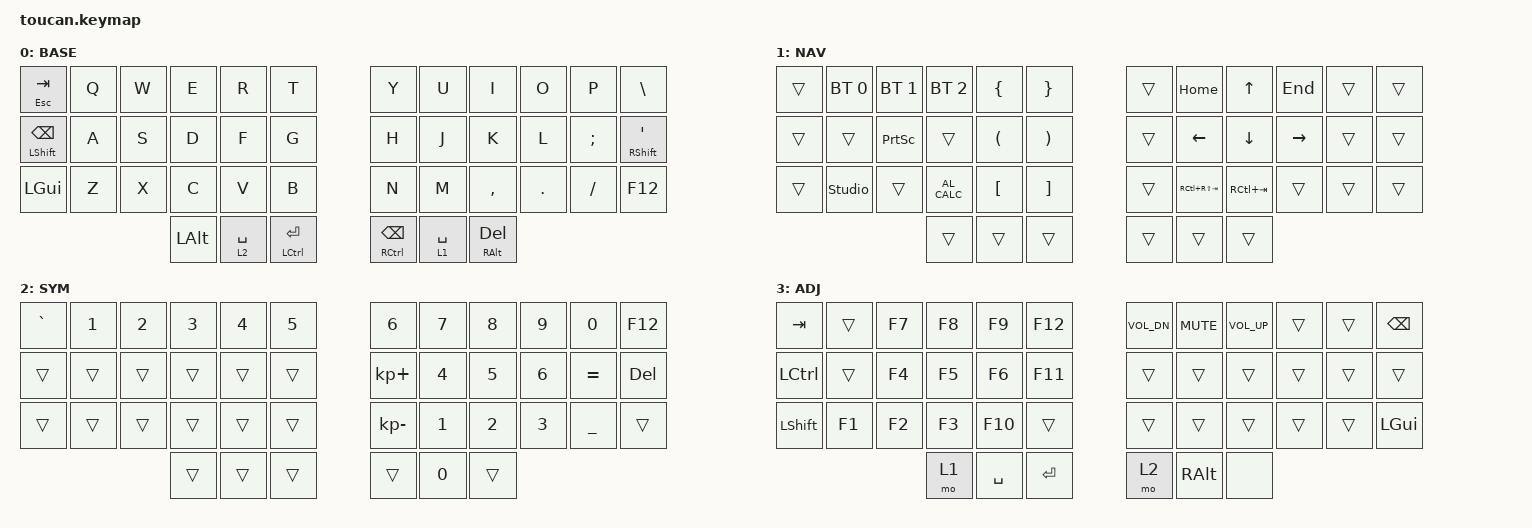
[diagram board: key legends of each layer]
#include <behaviors.dtsi>
#include <dt-bindings/zmk/keys.h>
#include <dt-bindings/zmk/bt.h>
#include <dt-bindings/zmk/outputs.h>

#define BASE 0
#define NAV  1
#define SYM  2
#define ADJ  3

&mt {
    flavor = "tap-preferred";
    tapping-term-ms = <200>;
    quick-tap-ms = <200>;
};

&lt {
    quick-tap-ms = <200>;
};

/ {
    conditional_layers {
        compatible = "zmk,conditional-layers";
        tri_layer {
            if-layers = <1 2>;
            then-layer = <3>;
        };
    };

    keymap {
        compatible = "zmk,keymap";

        base {
            display-name = "BASE";
            bindings = <
                &mt ESC TAB    &kp Q &kp W &kp E &kp R &kp T        &kp Y &kp U  &kp I     &kp O   &kp P    &kp BSLH
                &mt LSHFT BSPC &kp A &kp S &kp D &kp F &kp G        &kp H &kp J  &kp K     &kp L   &kp SEMI &mt RSHFT SQT
                &kp LGUI       &kp Z &kp X &kp C &kp V &kp B        &kp N &kp M  &kp COMMA &kp DOT &kp FSLH &kp F12
                              &kp LALT &lt 2 SPACE &mt LCTRL RET     &mt RCTRL BSPC &lt 1 SPACE &mt RALT DEL
            >;
        };

        nav {
            display-name = "NAV";
            bindings = <
                &trans &bt BT_SEL 0    &bt BT_SEL 1 &bt BT_SEL 2 &kp LBRC  &kp RBRC    &trans &kp HOME       &kp UP       &kp END   &trans &trans
                &trans &trans          &kp PSCRN    &trans       &kp LPAR  &kp RPAR    &trans &kp LEFT       &kp DOWN     &kp RIGHT &trans &trans
                &trans &studio_unlock  &trans       &kp C_AL_CALC &kp LBKT &kp RBKT    &trans &kp RC(RS(TAB)) &kp RC(TAB) &trans    &trans &trans
                                                        &trans    &trans    &trans      &trans &trans          &trans
            >;
        };

        sym {
            display-name = "SYM";
            bindings = <
                &kp GRAVE &kp N1 &kp N2 &kp N3 &kp N4 &kp N5      &kp N6       &kp N7 &kp N8 &kp N9 &kp N0    &kp F12
                &trans    &trans &trans &trans &trans &trans         &kp KP_PLUS  &kp N4 &kp N5 &kp N6 &kp EQUAL &kp DEL
                &trans    &trans &trans &trans &trans &trans         &kp KP_MINUS &kp N1 &kp N2 &kp N3 &kp UNDER &trans
                                        &trans &trans &trans        &trans       &kp N0 &trans
            >;
        };

        adj {
            display-name = "ADJ";
            bindings = <
                &kp TAB   &trans  &kp F7 &kp F8 &kp F9  &kp F12   &kp C_VOL_DN &kp C_MUTE &kp C_VOL_UP &trans &trans &kp BSPC
                &kp LCTRL &trans  &kp F4 &kp F5 &kp F6  &kp F11   &trans       &trans     &trans       &trans &trans &trans
                &kp LSHFT &kp F1 &kp F2 &kp F3 &kp F10 &trans     &trans       &trans     &trans       &trans &trans &kp LGUI
                                    &mo 1 &kp SPACE &kp RET        &mo 2        &kp RALT   &none
            >;
        };
        extra_1 {
                status = "reserved";
        };

        extra_2 {
                status = "reserved";
        };

        extra_3 {
                status = "reserved";
        };
    };
};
